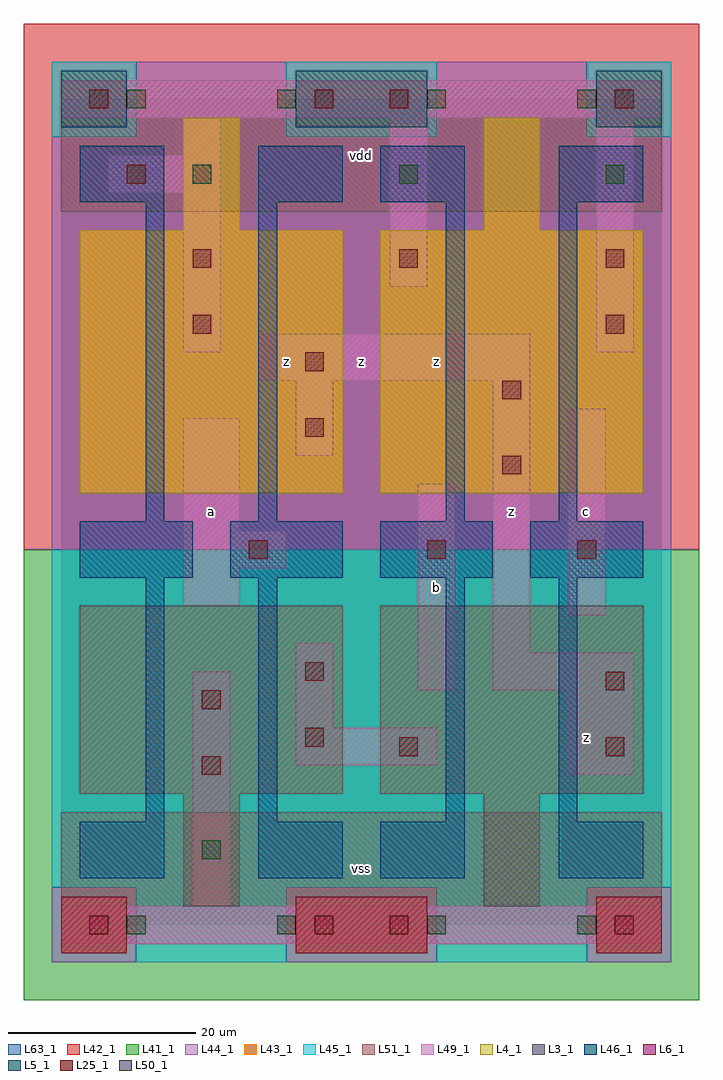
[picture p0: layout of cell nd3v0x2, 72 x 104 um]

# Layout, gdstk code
import gdstk
lib = gdstk.Library(unit=1e-6, precision=1e-09)
def R(c, l, rs):  # rectangles x0, y0, x1, y1
    for r in rs: c.add(gdstk.rectangle(r[:2], r[2:], *l))
def A(c, l, x, y, w, h, nx, ny, dx, dy):  # array of equal rectangles
    R(c, l, [(x+i*dx, y+j*dy, x+i*dx+w, y+j*dy+h) for i in range(nx) for j in range(ny)])
L3_1 = (3, 1)
L4_1 = (4, 1)
L5_1 = (5, 1)
L6_1 = (6, 1)
L25_1 = (25, 1)
L41_1 = (41, 1)
L42_1 = (42, 1)
L43_1 = (43, 1)
L44_1 = (44, 1)
L45_1 = (45, 1)
L46_1 = (46, 1)
L49_1 = (49, 1)
L50_1 = (50, 1)
L51_1 = (51, 1)
L63_1 = (63, 1)

nd3v0x2 = lib.new_cell('nd3v0x2')
R(nd3v0x2, L3_1, [(13,2,19,14), (45,2,51,14), (2,14,30,34), (34,14,62,34)])
R(nd3v0x2, L4_1, [(2,46,30,74), (34,46,62,74), (13,74,19,86), (45,74,51,86)])
R(nd3v0x2, L5_1, [(0,85,7,91), (25,85,39,91), (57,85,64,91)])
R(nd3v0x2, L6_1, [(0,-3,7,3), (0,-3,7,3), (25,-3,39,3), (25,-3,39,3), (57,-3,64,3), (57,-3,64,3)])
A(nd3v0x2, L25_1, 14, 70, 2, 2, 3, 1, 22, 0)
R(nd3v0x2, L25_1, [(3,-1,5,1), (27,-1,29,1), (35,-1,37,1), (59,-1,61,1), (15,16,17,18), (36,18,38,20), (58,18,60,20), (26,19,28,21), (15,23,17,25), (58,25,60,27), (26,26,28,28), (20,39,22,41), (39,39,41,41), (55,39,57,41), (47,48,49,50), (26,52,28,54), (47,56,49,58), (26,59,28,61), (14,63,16,65), (58,63,60,65), (7,79,9,81), (3,87,5,89), (27,87,29,89), (35,87,37,89), (59,87,61,89)])
R(nd3v0x2, L41_1, [(-4,-8,68,40)])
R(nd3v0x2, L42_1, [(-4,40,68,96)])
R(nd3v0x2, L43_1, [(0,-3,7,3), (25,-3,39,3), (57,-3,64,3), (13,2,19,14), (45,2,51,14), (2,14,30,34), (34,14,62,34), (2,46,30,74), (34,46,62,74), (13,74,19,86), (45,74,51,86), (0,85,7,91), (25,85,39,91), (57,85,64,91)])
R(nd3v0x2, L44_1, [(-1,-4,8,4), (24,-4,40,4), (56,-4,65,4), (-1,40,65,84), (8,84,24,92), (40,84,56,92)])
R(nd3v0x2, L45_1, [(8,-4,24,4), (40,-4,56,4), (-1,4,65,40), (-1,84,8,92), (24,84,40,92), (56,84,65,92)])
A(nd3v0x2, L46_1, 2, 37, 12, 6, 4, 1, 16, 0)
R(nd3v0x2, L46_1, [(2,5,11,11), (21,5,30,11), (34,5,43,11), (53,5,62,11), (9,11,11,37), (21,11,23,37), (41,11,43,37), (53,11,55,37), (9,43,11,77), (21,43,23,77), (41,43,43,77), (53,43,55,77), (2,77,11,83), (21,77,30,83), (34,77,43,83), (53,77,62,83)])
R(nd3v0x2, L49_1, [(0,-2,64,2), (14,2,18,27), (54,16,61,25), (25,17,40,21), (25,21,29,30), (38,25,42,47), (46,25,61,29), (46,29,50,58), (54,33,58,55), (13,34,19,38), (13,38,24,42), (13,42,19,54), (25,50,29,58), (21,58,50,63), (13,61,17,78), (57,61,61,86), (35,68,39,86), (5,78,17,82), (13,82,17,86), (0,86,64,90)])
A(nd3v0x2, L50_1, 7, -1, 2, 2, 4, 2, 16, 88)
A(nd3v0x2, L50_1, 14, 79, 2, 2, 3, 1, 22, 0)
R(nd3v0x2, L50_1, [(15,7,17,9)])
R(nd3v0x2, L51_1, [(0,-2,64,12), (0,76,64,90)])
R(nd3v0x2, L63_1, [(0,0,64,88)])
nd3v0x2.add(gdstk.Label('a', (16,44), layer=49, texttype=1))
nd3v0x2.add(gdstk.Label('z', (24,60), layer=49, texttype=1))
nd3v0x2.add(gdstk.Label('b', (40,36), layer=49, texttype=1))
nd3v0x2.add(gdstk.Label('z', (32,60), layer=49, texttype=1))
nd3v0x2.add(gdstk.Label('z', (40,60), layer=49, texttype=1))
nd3v0x2.add(gdstk.Label('z', (56,20), layer=49, texttype=1))
nd3v0x2.add(gdstk.Label('c', (56,44), layer=49, texttype=1))
nd3v0x2.add(gdstk.Label('z', (48,44), layer=49, texttype=1))
nd3v0x2.add(gdstk.Label('vss', (32,6), layer=51, texttype=1))
nd3v0x2.add(gdstk.Label('vdd', (32,82), layer=51, texttype=1))

lib.write_gds('nd3v0x2.gds')
